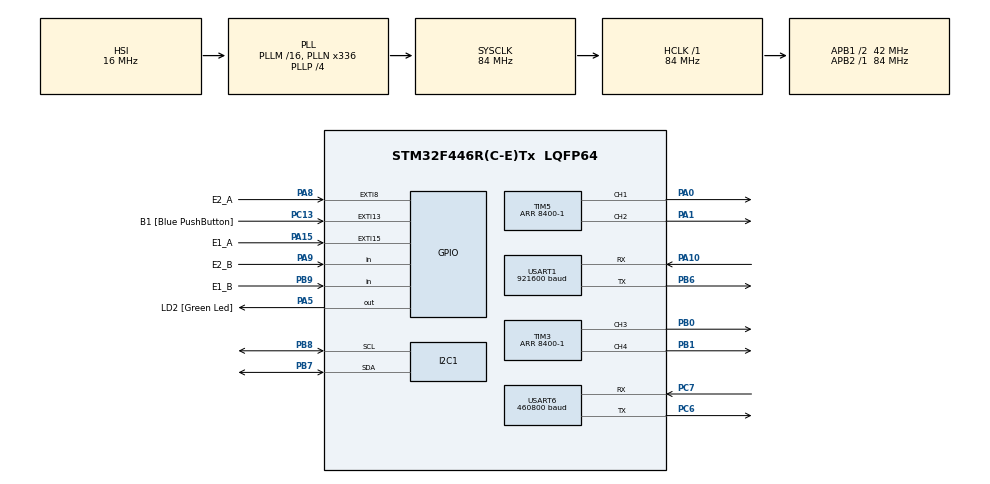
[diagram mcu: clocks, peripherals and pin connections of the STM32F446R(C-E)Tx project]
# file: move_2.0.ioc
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Dma.Request0=USART1_TX
Dma.USART1_TX.0.Direction=DMA_MEMORY_TO_PERIPH
Dma.USART1_TX.0.FIFOMode=DMA_FIFOMODE_DISABLE
Dma.USART1_TX.0.Instance=DMA2_Stream7
Dma.USART1_TX.0.MemDataAlignment=DMA_MDATAALIGN_BYTE
Dma.USART1_TX.0.MemInc=DMA_MINC_ENABLE
Dma.USART1_TX.0.Mode=DMA_NORMAL
Dma.USART1_TX.0.PeriphDataAlignment=DMA_PDATAALIGN_BYTE
Dma.USART1_TX.0.PeriphInc=DMA_PINC_DISABLE
Dma.USART1_TX.0.Priority=DMA_PRIORITY_LOW
I2C1.I2C_Mode=I2C_Fast
Mcu.Family=STM32F4
Mcu.Name=STM32F446R(C-E)Tx
Mcu.Package=LQFP64
NVIC.DMA2_Stream7_IRQn=true\:0\:0\:false\:false\:true\:false\:true\:true
NVIC.EXTI15_10_IRQn=true\:1\:2\:true\:false\:true\:true\:true\:true
NVIC.EXTI9_5_IRQn=true\:1\:0\:true\:false\:true\:true\:true\:true
NVIC.I2C1_ER_IRQn=true\:1\:2\:true\:false\:true\:true\:true\:true
NVIC.I2C1_EV_IRQn=true\:1\:2\:true\:false\:true\:true\:true\:true
NVIC.PriorityGroup=NVIC_PRIORITYGROUP_2
NVIC.TIM2_IRQn=true\:0\:0\:false\:false\:true\:true\:true\:true
NVIC.TIM4_IRQn=true\:1\:1\:true\:false\:true\:true\:true\:true
NVIC.USART1_IRQn=true\:1\:2\:true\:false\:true\:true\:true\:true
NVIC.USART6_IRQn=true\:0\:0\:true\:false\:true\:true\:true\:true
PA0-WKUP.Signal=S_TIM5_CH1
PA1.Signal=S_TIM5_CH2
PA10.Mode=Asynchronous
PA10.Signal=USART1_RX
PA13.GPIO_Label=TMS
PA13.Mode=Serial_Wire
PA13.Signal=SYS_JTMS-SWDIO
PA14.GPIO_Label=TCK
PA14.Mode=Serial_Wire
PA14.Signal=SYS_JTCK-SWCLK
PA15.GPIO_Label=E1_A
PA15.GPIO_ModeDefaultEXTI=GPIO_MODE_IT_RISING_FALLING
PA15.GPIO_PuPd=GPIO_PULLUP
PA15.Signal=GPXTI15
PA5.GPIO_Label=LD2 [Green Led]
PA5.Signal=GPIO_Output
PA8.GPIO_Label=E2_A
PA8.GPIO_ModeDefaultEXTI=GPIO_MODE_IT_RISING_FALLING
PA8.GPIO_PuPd=GPIO_PULLUP
PA8.Signal=GPXTI8
PA9.GPIO_Label=E2_B
PA9.GPIO_PuPd=GPIO_PULLUP
PA9.Signal=GPIO_Input
PB0.Signal=S_TIM3_CH3
PB1.Signal=S_TIM3_CH4
PB3.GPIO_Label=SWO
PB3.Signal=SYS_JTDO-SWO
PB6.Mode=Asynchronous
PB6.Signal=USART1_TX
PB7.GPIO_Pu=GPIO_PULLUP
PB7.Mode=I2C
PB7.Signal=I2C1_SDA
PB8.GPIO_Pu=GPIO_PULLUP
PB8.Mode=I2C
PB8.Signal=I2C1_SCL
PB9.GPIO_Label=E1_B
PB9.GPIO_PuPd=GPIO_PULLUP
PB9.Signal=GPIO_Input
PC13.GPIO_Label=B1 [Blue PushButton]
PC13.GPIO_ModeDefaultEXTI=GPIO_MODE_IT_FALLING
PC13.Signal=GPXTI13
PC14-OSC32_IN.Mode=LSE-External-Oscillator
PC14-OSC32_IN.Signal=RCC_OSC32_IN
PC15-OSC32_OUT.Mode=LSE-External-Oscillator
PC15-OSC32_OUT.Signal=RCC_OSC32_OUT
PC6.Mode=Asynchronous
PC6.Signal=USART6_TX
PC7.Mode=Asynchronous
PC7.Signal=USART6_RX
PH0-OSC_IN.Mode=HSE-External-Oscillator
PH0-OSC_IN.Signal=RCC_OSC_IN
PH1-OSC_OUT.Mode=HSE-External-Oscillator
PH1-OSC_OUT.Signal=RCC_OSC_OUT
ProjectManager.HeapSize=0x200
ProjectManager.StackSize=0x400
ProjectManager.TargetToolchain=MDK-ARM V5
RCC.48MHZClocksFreq_Value=84000000
RCC.AHBFreq_Value=84000000
RCC.APB1CLKDivider=RCC_HCLK_DIV2
RCC.APB1Freq_Value=42000000
RCC.APB1TimFreq_Value=84000000
RCC.APB2Freq_Value=84000000
RCC.APB2TimFreq_Value=84000000
RCC.CortexFreq_Value=84000000
RCC.FLatency-AdvancedSettings=FLASH_LATENCY_2
RCC.HCLKFreq_Value=84000000
RCC.HSE_VALUE=8000000
RCC.HSI_VALUE=16000000
RCC.PLLN=336
RCC.PLLP=RCC_PLLP_DIV4
RCC.SYSCLKFreq_VALUE=84000000
RCC.SYSCLKSource=RCC_SYSCLKSOURCE_PLLCLK
RCC.USBFreq_Value=168000000
RCC.VCOOutputFreq_Value=336000000
SH.S_TIM3_CH3.0=TIM3_CH3,PWM Generation3 CH3
SH.S_TIM3_CH4.0=TIM3_CH4,PWM Generation4 CH4
SH.S_TIM5_CH1.0=TIM5_CH1,PWM Generation1 CH1
SH.S_TIM5_CH2.0=TIM5_CH2,PWM Generation2 CH2
TIM3.Channel-PWM\ Generation3\ CH3=TIM_CHANNEL_3
TIM3.Channel-PWM\ Generation4\ CH4=TIM_CHANNEL_4
TIM3.Period=8400-1
TIM4.AutoReloadPreload=TIM_AUTORELOAD_PRELOAD_ENABLE
TIM4.Period=999
TIM4.Prescaler=83
TIM4.TIM_MasterOutputTrigger=TIM_TRGO_UPDATE
TIM5.Channel-PWM\ Generation1\ CH1=TIM_CHANNEL_1
TIM5.Channel-PWM\ Generation2\ CH2=TIM_CHANNEL_2
TIM5.Period=8400-1
USART1.BaudRate=921600
USART1.VirtualMode=VM_ASYNC
USART6.BaudRate=460800
USART6.VirtualMode=VM_ASYNC
VP_TIM2_VS_ClockSourceINT.Mode=Internal
VP_TIM3_VS_ClockSourceINT.Mode=Internal
VP_TIM4_VS_ClockSourceINT.Mode=Internal
VP_TIM5_VS_ClockSourceINT.Mode=Internal
board=NUCLEO-F446RE

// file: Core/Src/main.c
/* USER CODE BEGIN Header */
/**
  ******************************************************************************
  * @file           : main.c
  * @brief          : Main program body
  ******************************************************************************
  * @attention
  *
  * Copyright (c) 2025 STMicroelectronics.
  * All rights reserved.
  *
  * This software is licensed under terms that can be found in the LICENSE file
  * in the root directory of this software component.
  * If no LICENSE file comes with this software, it is provided AS-IS.
  *
  ******************************************************************************
  */
/* USER CODE END Header */
#include "main.h"
#include "dma.h"
#include "i2c.h"
#include "tim.h"
#include "usart.h"
#include "gpio.h"

/* USER CODE BEGIN Includes */
#include "string.h"
#include <stdio.h>
#include <math.h>
#include "encoder.h"
#include "my_systick.h"
#include "rader.h"
#include "mpu6500.h"
#include "pwm.h"
#include "frame.h"
/* USER CODE END Includes */

/* USER CODE BEGIN PV */
//编码器
//extern int64_t encoderA_line, encoderB_line;	//单轮线数
//extern double wheelA_dis, wheelB_dis;					//单轮距离
double A_speed, B_speed;

//IMU模块
float ax, ay, az, gx, gy, gz;			//原始数据
float gz_last;										//偏航角计算，用于gz一阶互补滤波
float yaw_last;										//偏航角计算，用于yaw角限幅滤波，消除累积误差
uint32_t time_latest = 0;					//偏航角计算，用于计算积分dt
uint32_t time_last = 0;
float roll, pitch, yaw;						//欧拉角解析结果（转存变量float）
extern Attitude_t attitude;				//欧拉角解析结果（mpu6500文件）

//雷达模块
extern uint8_t uart4_rx_con;       //接收计数器
extern uint8_t uart4_rx_chksum;      //异或校验
extern uint8_t uart4_rx_buf[100];     //接收缓冲
extern uint8_t uart4_tx_buf[10];     //接收缓冲
extern uint8_t uart4_rx_data;
extern LaserPointTypeDef ax_ls_point[250];	//雷达点云数组（结构体数组，包含角度、距离）
uint8_t time_str[50];

//传感器数据帧通信模块
Frame frame;

int sent_cnt = 0;//调试，统计雷达发送帧数

//串口发送模块（蓝牙）
volatile uint8_t uart1_tx_dma_complete = 1;	// 添加DMA发送完成标志

/* USER CODE END PV */

void SystemClock_Config(void);

int main(void)
{

  /* MCU Configuration--------------------------------------------------------*/

  /* Reset of all peripherals, Initializes the Flash interface and the Systick. */
  HAL_Init();

  /* Configure the system clock */
  SystemClock_Config();

  /* Initialize all configured peripherals */
  MX_GPIO_Init();
  MX_DMA_Init();
  MX_USART1_UART_Init();
  MX_TIM2_Init();
  MX_TIM3_Init();
  MX_TIM5_Init();
  MX_TIM4_Init();
  MX_USART6_UART_Init();
  MX_I2C1_Init();
  /* USER CODE BEGIN 2 */

	//***************************自定义初始化***************************//

	//编码器模块（滴答计时器）
	HAL_TIM_Base_Start_IT(&htim2);  // 启动自定义滴答计时器

	//PWM模块，开启pwm
	HAL_TIM_PWM_Start(&htim5,TIM_CHANNEL_1);
	HAL_TIM_PWM_Start(&htim5,TIM_CHANNEL_2);
	HAL_TIM_PWM_Start(&htim3,TIM_CHANNEL_3);
	HAL_TIM_PWM_Start(&htim3,TIM_CHANNEL_4);

	//Set_PWM_B(0, 5000);
	//Set_PWM_A(5000, 0);

	//IMU模块
	while(1)//mpu6500初始化
	{
		if(MPU6500_Init(&hi2c1) == 0)
		{
			char buff[50] ;
			sprintf(buff, "mpu6500 init error!");
			HAL_UART_Transmit_IT(&huart1, (uint8_t*)buff, strlen(buff));
		}
		else
			break;
	}

	//雷达模块
	HAL_Delay(500); 	// 等待雷达上电初始化
	AX_LASER_Start();	// 发送请求报文，雷达开始发送应答报文

	//传感器数据帧通信模块
	//完成固定数据填充
	frame.header = swap_uint16(FRAME_HEADER);  // 转换为大端序
	frame.point_count = swap_uint16(LASER_DATA_POINTS);
	frame.angle_resolution = swap_float(LASER_ANGLE_RESOLUTION);
	frame.tail = swap_uint16(FRAME_TAIL);

	//所有模块准备就绪，开启任务调度定时器
	HAL_TIM_Base_Start_IT(&htim4);

  /* USER CODE END 2 */

  /* Infinite loop */
  /* USER CODE BEGIN WHILE */
  while (1)
  {
		////////////////////串口发送调试区//////////////////
//		char buff[50] ;
//		//sprintf(buff, "A_l:%lld, A_d:%lf; B_l:%lld, B_d:%lf \r\n", ReadLines_A(), ReadDistance_A(), ReadLines_B(), ReadDistance_B());//格式化输出字符串
//		//sprintf(buff, "%lld, %lf, %lld, %lf, %llu\r\n", ReadLines_A(), ReadDistance_A(), ReadLines_B(), ReadDistance_B(), GetTime_us());//格式化输出字符串
//		//sprintf(buff, "%lf, %lf, %lf, %lf, %lld, %lld\r\n", GetSpeed_A_filter(), GetSpeed_A(), GetSpeed_B_filter(),GetSpeed_B(), ReadLines_A(), ReadLines_B());//格式化输出字符串
//		//sprintf(buff, "%lf, %lf, %lld, %lld\r\n", GetSpeed_A_filter(), GetSpeed_B_filter(), ReadLines_A(), ReadLines_B());//格式化输出字符串
//		//sprintf(buff, "%lf, %lf\r\n", GetSpeed_A_filter(), GetSpeed_B_filter());//格式化输出字符串
//		//sprintf(buff, "%lf, %lf\r\n", A_speed, B_speed);//格式化输出字符串
//		//sprintf(buff, "%.2f,%.2f,%.2f,%.2f,%.2f,%.2f\r\n", ax,ay,az,gx,gy,gz);//imu原始数据
//		sprintf(buff, "%d,%d,%d\r\n", roll_int / 100,pitch_int / 100,yaw_int / 100);//imu欧拉角数据
//
//		HAL_UART_Transmit_IT(&huart1, (uint8_t*)buff, strlen(buff));

//		//发布雷达数据
//		sent_cnt++;
//		LaserPointTypeDef temp_points[250];	// 复制雷达数据到临时数组，避免数据竞争
//		__disable_irq();// 短暂禁用中断确保数据一致性
//		memcpy(temp_points, ax_ls_point, sizeof(ax_ls_point));
//		__enable_irq();
//		for(int i = 0; i < 250; i++)
//		{
//			sprintf(time_str, "frame: %d; point_num:%d; A:%d.%d; D:%d mm\r\n", sent_cnt, i, temp_points[i].angle/100, temp_points[i].angle%100, temp_points[i].distance);
//			HAL_UART_Transmit_IT(&huart1, time_str, sizeof(time_str));
//			//HAL_Delay(500);
//		}

//		sent_cnt++;
//
//    // 复制雷达数据到临时数组，避免数据竞争
//    LaserPointTypeDef temp_points[250];
//
//    // 短暂禁用中断确保数据一致性
//    __disable_irq();
//    memcpy(temp_points, ax_ls_point, sizeof(ax_ls_point));
//    __enable_irq();
//
//    // 发送帧计数
//    sprintf(time_str, "frame: %d\r\n", sent_cnt);
//    HAL_UART_Transmit_IT(&huart1, time_str, strlen(time_str));
//
////    // 发送复制的数据
////    for(int i = 0; i < 250; i++) {
////        sprintf(time_str, "frame: %d; point_num:%d; A:%d.%d; D:%d mm\r\n",
////                sent_cnt, i,
////                temp_points[i].angle/100, temp_points[i].angle%100,
////                temp_points[i].distance);
////        HAL_UART_Transmit_IT(&huart1, time_str, strlen(time_str));
////    }
//		// 发送复制的数据 - 修改为一次性发送所有数据，并添加分隔符
//		uint16_t data_buffer[1000]; // 250个点 × (3个数据元素 + 1个分隔符) = 1000个元素

//		// 将结构体数据重新组织到整型数组中，并添加分隔符
//		for(int i = 0; i < 250; i++) {
//				data_buffer[4*i]     = temp_points[i].angle / 100;    // 角度整数部分
//				data_buffer[4*i + 1] = temp_points[i].angle % 100;    // 角度小数部分
//				data_buffer[4*i + 2] = temp_points[i].distance;       // 距离值
//				data_buffer[4*i + 3] = 0xFFFF;                        // 分隔符 -1 (用0xFFFF表示)
//		}

//		// 一次性发送所有数据
//		HAL_UART_Transmit(&huart1, (uint8_t*)data_buffer, sizeof(data_buffer), 1000);

		//HAL_Delay(100);

//////////////////DMA串口发送雷达数据帧到上位机///////////////////////////
//		// 等待上一次DMA发送完成
//    if (uart1_tx_dma_complete) {
//        sent_cnt++;
//
//        // 复制雷达数据到临时数组，避免数据竞争
//        LaserPointTypeDef temp_points[250];
//
//        // 短暂禁用中断确保数据一致性
//        __disable_irq();
//        memcpy(temp_points, ax_ls_point, sizeof(ax_ls_point));
//        __enable_irq();
//
//				// 填充距离数据并计算校验和
//        uint16_t calc_checksum = 0;
//        for(int i = 0; i < LASER_DATA_POINTS; i++) {
//						laser_frame.distances[i] = swap_uint16(temp_points[i].distance);  // 转换为大端序
//            //calc_checksum += temp_points[i].distance;
//						calc_checksum += laser_frame.distances[i];
//        }
//
////        // 添加其他字段到校验和
////        calc_checksum += laser_frame.point_count;
////        calc_checksum += (uint16_t)(laser_frame.angle_resolution * 100); // 将浮点数转换为整数参与校验
//
//				laser_frame.checksum = swap_uint16(calc_checksum);  // 转换为大端序
//
//        // 设置发送完成标志为0（正在发送）
//        uart1_tx_dma_complete = 0;
//
//        // 使用DMA发送二进制数据帧
//        //HAL_UART_Transmit_DMA(&huart1, (uint8_t*)&laser_frame, sizeof(LaserFrame_t));
//				HAL_UART_Transmit_IT(&huart1, (uint8_t*)&laser_frame, sizeof(LaserFrame_t));
//    }

    /* USER CODE END WHILE */

  }
}

void SystemClock_Config(void)
{
  RCC_OscInitTypeDef RCC_OscInitStruct = {0};
  RCC_ClkInitTypeDef RCC_ClkInitStruct = {0};

  /** Configure the main internal regulator output voltage
  */
  __HAL_RCC_PWR_CLK_ENABLE();
  __HAL_PWR_VOLTAGESCALING_CONFIG(PWR_REGULATOR_VOLTAGE_SCALE3);

  /** Initializes the RCC Oscillators according to the specified parameters
  * in the RCC_OscInitTypeDef structure.
  */
  RCC_OscInitStruct.OscillatorType = RCC_OSCILLATORTYPE_HSI;
  RCC_OscInitStruct.HSIState = RCC_HSI_ON;
  RCC_OscInitStruct.HSICalibrationValue = RCC_HSICALIBRATION_DEFAULT;
  RCC_OscInitStruct.PLL.PLLState = RCC_PLL_ON;
  RCC_OscInitStruct.PLL.PLLSource = RCC_PLLSOURCE_HSI;
  RCC_OscInitStruct.PLL.PLLM = 16;
  RCC_OscInitStruct.PLL.PLLN = 336;
  RCC_OscInitStruct.PLL.PLLP = RCC_PLLP_DIV4;
  RCC_OscInitStruct.PLL.PLLQ = 2;
  RCC_OscInitStruct.PLL.PLLR = 2;
  if (HAL_RCC_OscConfig(&RCC_OscInitStruct) != HAL_OK)
  {
    Error_Handler();
  }

  /** Initializes the CPU, AHB and APB buses clocks
  */
  RCC_ClkInitStruct.ClockType = RCC_CLOCKTYPE_HCLK|RCC_CLOCKTYPE_SYSCLK
                              |RCC_CLOCKTYPE_PCLK1|RCC_CLOCKTYPE_PCLK2;
  RCC_ClkInitStruct.SYSCLKSource = RCC_SYSCLKSOURCE_PLLCLK;
  RCC_ClkInitStruct.AHBCLKDivider = RCC_SYSCLK_DIV1;
  RCC_ClkInitStruct.APB1CLKDivider = RCC_HCLK_DIV2;
  RCC_ClkInitStruct.APB2CLKDivider = RCC_HCLK_DIV1;

  if (HAL_RCC_ClockConfig(&RCC_ClkInitStruct, FLASH_LATENCY_2) != HAL_OK)
  {
    Error_Handler();
  }
}

/* USER CODE BEGIN 4 */

//*****************************DMA中断**********************************//
// DMA发送完成回调函数
void HAL_UART_TxCpltCallback(UART_HandleTypeDef *huart)
{
    if(huart->Instance == USART1) {
        uart1_tx_dma_complete = 1;  // 清除忙标志
    }
}

// DMA发送错误回调函数
void HAL_UART_ErrorCallback(UART_HandleTypeDef *huart)
{
    if(huart->Instance == USART1) {
        uart1_tx_dma_complete = 1;  // 清除忙标志
    }
}

//*****************************任务调度**********************************//
int count1 = 0;//分时器
void HAL_TIM_PeriodElapsedCallback(TIM_HandleTypeDef *htim)
{
    if (htim == &htim4) // 任务调度计时器
		{
			count1++;//分时器

			//////////////////////////传感器数据获取(1)：编码器距离//////////////////////////////////////////
			//编码器距离数据获取
			double dis_A = ReadDistance_A();
			double dis_B = ReadDistance_B();

      if(uart1_tx_dma_complete == 1)	 //DMA空闲
			{
				/////////////////////////传感器数据获取(2)：imu//////////////////////////////////////////
				//imu数据获取(占用DMA和总线资源)
				//读取原始数据
				MPU6500_Read_Accel(&hi2c1, &ax, &ay, &az);//与DMA发送冲突，移出去会卡死
				MPU6500_Read_Gyro(&hi2c1, &gx, &gy, &gz);	//与DMA发送冲突，移出去会卡死
				//更新两次测量的时间窗口
				time_last = time_latest;
				time_latest = HAL_GetTick();//ms
				float dt = (time_latest - time_last) / 1000.f;	//s
				//对原始三轴角速度（gz）处理：处理零偏和抖动问题
				gz = gz +0.5;
				if(gz <= 1.4 && gz >= -1.4) gz = 0;
				gz = gz_last*0.3 + gz*0.7;
				gz_last = gz;
				//更新偏航角
				Yaw_Update(gz, yaw_last, dt);
				//覆盖变量
				roll = attitude.roll;		//保持初始值0
				pitch = attitude.pitch;	//保持初始值0
				yaw = attitude.yaw;			//积分处理

				////////////////DMA串口发送imu、编码器、雷达数据帧到上位机///////////////////////////
				////装载数据帧

				uint16_t calc_checksum = 0;	//校验和

				//装载IMU数据帧
				frame.imu_raw_data[0] = swap_float(ax);		//原始数据，转换为大端字节序
				frame.imu_raw_data[1] = swap_float(ay);
				frame.imu_raw_data[2] = swap_float(az);
				frame.imu_raw_data[3] = swap_float(gx);
				frame.imu_raw_data[4] = swap_float(gy);
				frame.imu_raw_data[5] = swap_float(gz);

				frame.imu_rpy_data[0] = swap_float(roll);	//欧拉角数据，转换为大端字节序
				frame.imu_rpy_data[1] = swap_float(pitch);
				frame.imu_rpy_data[2] = swap_float(yaw);

				for(int i = 0; i < IMU_RAW_DATA_LENGTH; i++)	//计算原始数据校验和
				{
					calc_checksum += (uint16_t)(frame.imu_raw_data[i] * 100);	//浮点数特殊处理
				}
				for(int i = 0; i < IMU_RPY_DATA_LENGTH; i++)	//计算欧拉角数据校验和
				{
					calc_checksum += (uint16_t)(frame.imu_rpy_data[i] * 100);	//浮点数特殊处理
				}

				//装载编码器距离数据帧
				frame.wheelA_dis = swap_double(dis_A);	//转换为大端字节序
				frame.wheelB_dis = swap_double(dis_B);

				calc_checksum += (uint16_t)(frame.wheelA_dis * 100);	//计算校验和
				calc_checksum += (uint16_t)(frame.wheelB_dis * 100);

				//装载雷达数据帧
				LaserPointTypeDef temp_points[250];	// 复制雷达数据到临时数组，避免数据竞争
				__disable_irq();// 短暂禁用中断确保数据一致性
				memcpy(temp_points, ax_ls_point, sizeof(ax_ls_point));
				__enable_irq();

				for(int i = 0; i < LASER_DATA_POINTS - 1; i++) // 雷达数据按角度从小到大排序
				{
						for(int j = 0; j < LASER_DATA_POINTS - i - 1; j++)
						{
								if(temp_points[j].angle > temp_points[j+1].angle)
								{
										// 交换两个点的位置
										LaserPointTypeDef temp = temp_points[j];
										temp_points[j] = temp_points[j+1];
										temp_points[j+1] = temp;
								}
						}
				}

				for(int i = 0; i < LASER_DATA_POINTS; i++) // 填充雷达距离数据 并计算校验和
				{
						frame.distances[i] = swap_uint16(temp_points[i].distance);  // 转换为大端序
						calc_checksum += frame.distances[i];			//计算校验和
				}

//        // 添加其他字段到校验和
//        calc_checksum += laser_frame.point_count;
//        calc_checksum += (uint16_t)(laser_frame.angle_resolution * 100); // 将浮点数转换为整数参与校验

				//装载校验和
				frame.checksum = swap_uint16(calc_checksum);  // 转换为大端序

				////发送数据帧
				uart1_tx_dma_complete = 0;// 设置发送完成标志为0（正在发送）
				HAL_UART_Transmit_DMA(&huart1, (uint8_t*)&frame, sizeof(Frame));	// 使用DMA发送二进制数据帧
			}
		}
}

//*****************************串口通信**********************************//
void HAL_UART_RxCpltCallback(UART_HandleTypeDef *huart)
{
	/////////////////////////传感器数据获取(3)：雷达//////////////////////////////////////////
	// 雷达数据接收区
	if (huart->Instance == USART6)
    {
        uint8_t Res = uart4_rx_data;
        uint8_t temp;

        if (uart4_rx_con < 3)
        {
            if(uart4_rx_con == 0)  //接收帧头1
            {
                //判断帧头1
                if((Res>>4) == LS_HEADER1)
                {
                    uart4_rx_buf[uart4_rx_con] = Res;
                    uart4_rx_con = 1;
                }
            }
            else if(uart4_rx_con == 1) //接收帧头2
            {
                //判断帧头2
                if((Res>>4) == LS_HEADER2)
                {
                    uart4_rx_buf[uart4_rx_con] = Res;
                    uart4_rx_con = 2;
                }
                else
                {
                    uart4_rx_con = 0;
                }
            }
            else  //接收第一个数据
            {
                uart4_rx_buf[uart4_rx_con] = Res;
                uart4_rx_con = 3;

                //赋值校验
                uart4_rx_chksum = Res;
            }
        }
        else  //接收数据
        {
            //判断是否接收完
            if(uart4_rx_con < (LS_F_LEN-1))
            {
                uart4_rx_buf[uart4_rx_con] = Res;
                uart4_rx_con++;
                uart4_rx_chksum = uart4_rx_chksum^Res;
            }
            else
            {
                //接收最后一个数据
                uart4_rx_buf[uart4_rx_con] = Res;
                uart4_rx_chksum = uart4_rx_chksum^Res;

                //复位
                uart4_rx_con = 0;

                //计算传输的校验数据
                temp = ((uint8_t)(uart4_rx_buf[1]<<4)) + (uint8_t)(uart4_rx_buf[0]&0x0F);

                //判断校验是否正确
                if( uart4_rx_chksum == temp)
                {
                    //接收完毕，进行帧数据处理
                    LS_DataHandle();
                }
            }
        }
				//重新开启中断
        HAL_UART_Receive_IT(&huart6, &uart4_rx_data, 1);
    }

}
/* USER CODE END 4 */

void Error_Handler(void)
{
  __disable_irq();
  while (1)
  {
  }
}
